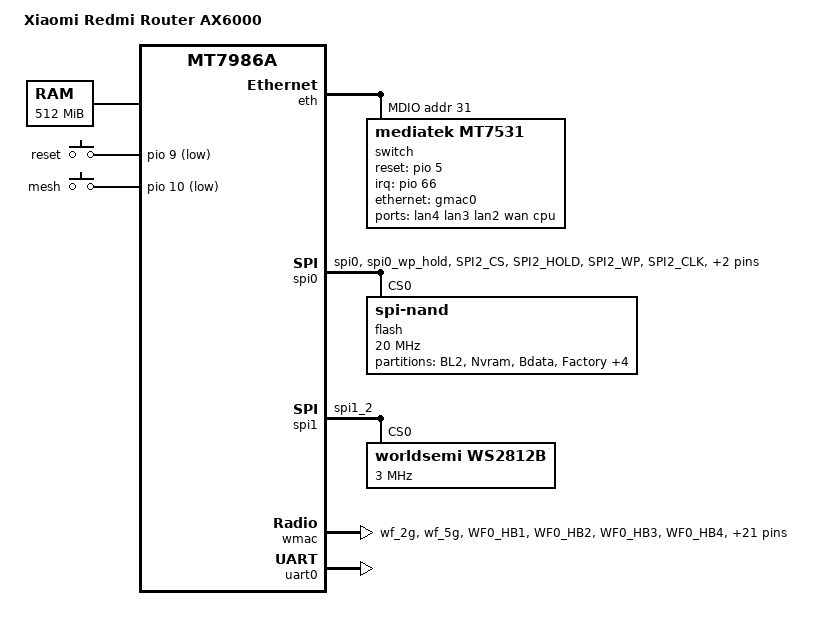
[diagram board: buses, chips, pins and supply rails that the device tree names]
// SPDX-License-Identifier: (GPL-2.0 OR MIT)

/dts-v1/;
#include <dt-bindings/input/input.h>
#include <dt-bindings/gpio/gpio.h>
#include <dt-bindings/leds/common.h>

#include "mt7986a.dtsi"

/ {
	model = "Xiaomi Redmi Router AX6000";
	compatible = "xiaomi,redmi-router-ax6000", "mediatek,mt7986a";

	aliases {
		serial0 = &uart0;
		led-boot = &led_status_rgb;
		led-failsafe = &led_status_rgb;
		led-running = &led_status_rgb;
		led-upgrade = &led_status_rgb;
	};

	chosen {
		stdout-path = "serial0:115200n8";
	};

	memory {
		reg = <0 0x40000000 0 0x20000000>;
	};

	keys {
		compatible = "gpio-keys";

		reset {
			label = "reset";
			gpios = <&pio 9 GPIO_ACTIVE_LOW>;
			linux,code = <KEY_RESTART>;
		};

		mesh {
			label = "mesh";
			gpios = <&pio 10 GPIO_ACTIVE_LOW>;
			linux,code = <BTN_9>;
			linux,input-type = <EV_SW>;
		};
	};
};

&eth {
	status = "okay";

	gmac0: mac@0 {
		compatible = "mediatek,eth-mac";
		reg = <0>;
		phy-mode = "2500base-x";

		nvmem-cells = <&macaddr_factory_4>;
		nvmem-cell-names = "mac-address";
		mac-address-increment = <(-1)>;

		fixed-link {
			speed = <2500>;
			full-duplex;
			pause;
		};
	};

	mdio: mdio-bus {
		#address-cells = <1>;
		#size-cells = <0>;
	};
};

&mdio {
	switch: switch@0 {
		compatible = "mediatek,mt7531";
		reg = <31>;
		reset-gpios = <&pio 5 GPIO_ACTIVE_HIGH>;
		interrupt-controller;
		#interrupt-cells = <1>;
		interrupt-parent = <&pio>;
		interrupts = <66 IRQ_TYPE_LEVEL_HIGH>;
	};
};

&pio {
	spi_flash_pins: spi-flash-pins-33-to-38 {
		mux {
			function = "spi";
			groups = "spi0", "spi0_wp_hold";
		};
		conf-pu {
			pins = "SPI2_CS", "SPI2_HOLD", "SPI2_WP";
			drive-strength = <8>;
			mediatek,pull-up-adv = <0>; /* bias-disable */
		};
		conf-pd {
			pins = "SPI2_CLK", "SPI2_MOSI", "SPI2_MISO";
			drive-strength = <8>;
			mediatek,pull-down-adv = <0>; /* bias-disable */
		};
	};

	spi_led_pins: spic-pins-29-to-32 {
		mux {
			function = "spi";
			groups = "spi1_2";
		};
	};

	wf_2g_5g_pins: wf_2g_5g-pins {
		mux {
			function = "wifi";
			groups = "wf_2g", "wf_5g";
		};
		conf {
			pins = "WF0_HB1", "WF0_HB2", "WF0_HB3", "WF0_HB4",
			       "WF0_HB0", "WF0_HB0_B", "WF0_HB5", "WF0_HB6",
			       "WF0_HB7", "WF0_HB8", "WF0_HB9", "WF0_HB10",
			       "WF0_TOP_CLK", "WF0_TOP_DATA", "WF1_HB1",
			       "WF1_HB2", "WF1_HB3", "WF1_HB4", "WF1_HB0",
			       "WF1_HB5", "WF1_HB6", "WF1_HB7", "WF1_HB8",
			       "WF1_TOP_CLK", "WF1_TOP_DATA";
			drive-strength = <4>;
		};
	};
};

&spi0 {
	pinctrl-names = "default";
	pinctrl-0 = <&spi_flash_pins>;
	cs-gpios = <0>, <0>;
	status = "okay";

	flash@0 {
		compatible = "spi-nand";
		#address-cells = <1>;
		#size-cells = <1>;
		reg = <0>;

		spi-max-frequency = <20000000>;
		spi-tx-bus-width = <4>;
		spi-rx-bus-width = <4>;

		mediatek,nmbm;
		mediatek,bmt-max-ratio = <1>;
		mediatek,bmt-max-reserved-blocks = <64>;

		partitions {
			compatible = "fixed-partitions";
			#address-cells = <1>;
			#size-cells = <1>;

			partition@0 {
				label = "BL2";
				reg = <0x0 0x100000>;
				read-only;
			};

			partition@100000 {
				label = "Nvram";
				reg = <0x100000 0x40000>;
				read-only;
			};

			partition@140000 {
				label = "Bdata";
				reg = <0x140000 0x40000>;
				read-only;
			};

			factory: partition@180000 {
				label = "Factory";
				reg = <0x180000 0x200000>;
				read-only;

				compatible = "nvmem-cells";
				#address-cells = <1>;
				#size-cells = <1>;

				macaddr_factory_4: macaddr@4 {
					reg = <0x4 0x6>;
				};
			};

			partition@380000 {
				label = "FIP";
				reg = <0x380000 0x200000>;
				read-only;
			};

			partition@580000 {
				label = "crash";
				reg = <0x580000 0x40000>;
				read-only;
			};

			partition@5c0000 {
				label = "crash_log";
				reg = <0x5c0000 0x40000>;
				read-only;
			};

			/* ubi partition is the result of squashing
			 * consecutive stock partitions:
			 * - ubi
			 * - ubi1
			 * - overlay
			 */
			partition@600000 {
				label = "ubi";
				reg = <0x600000 0x6e00000>;
			};

			/* last 12 MiB is reserved for NMBM bad block table */
		};
	};
};

&spi1 {
	pinctrl-names = "default";
	pinctrl-0 = <&spi_led_pins>;
	status = "okay";

	ws2812b@0 {
		#address-cells = <1>;
		#size-cells = <0>;
		compatible = "worldsemi,ws2812b";
		reg = <0>;
		spi-max-frequency = <3000000>;

		led_status_rgb: led@0 {
			reg = <0>;
			label = "rgb:status";
			color-index = <LED_COLOR_ID_RED LED_COLOR_ID_GREEN LED_COLOR_ID_BLUE>;
		};

		led_network_rgb: led@1 {
			reg = <1>;
			label = "rgb:network";
			color-index = <LED_COLOR_ID_RED LED_COLOR_ID_GREEN LED_COLOR_ID_BLUE>;
		};
	};
};

&switch {
	ports {
		#address-cells = <1>;
		#size-cells = <0>;

		port@1 {
			reg = <1>;
			label = "lan4";
		};

		port@2 {
			reg = <2>;
			label = "lan3";
		};

		port@3 {
			reg = <3>;
			label = "lan2";
		};

		port@4 {
			reg = <4>;
			label = "wan";
		};

		port@6 {
			reg = <6>;
			label = "cpu";
			ethernet = <&gmac0>;
			phy-mode = "2500base-x";

			fixed-link {
				speed = <2500>;
				full-duplex;
				pause;
			};
		};
	};
};

&wmac {
	status = "okay";
	pinctrl-names = "default";
	pinctrl-0 = <&wf_2g_5g_pins>;

	mediatek,mtd-eeprom = <&factory 0x0>;
};

&uart0 {
	status = "okay";
};
